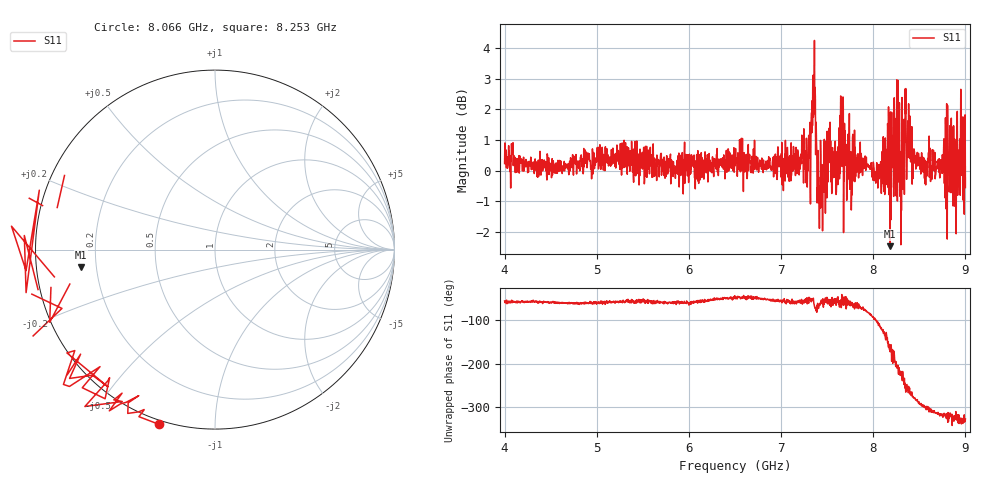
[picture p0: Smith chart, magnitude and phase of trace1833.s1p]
! Created with skrf 1.8.0 (http://scikit-rf.org).
# Hz S RI R 50.0
!freq ReS11 ImS11
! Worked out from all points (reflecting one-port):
!   1601 points, 4 GHz to 9 GHz, reference 50 ohm
!   lowest |S11| = -2.5 dB at 8.184 GHz (marker M1), VSWR 7.09, Z = 7.08 - j3.25 ohm
!   phase of S11 starts at -56 deg and turns -271 deg over the sweep
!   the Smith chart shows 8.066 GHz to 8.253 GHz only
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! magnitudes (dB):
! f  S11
! 4 GHz  0.2
! 4.625 GHz  -0.1
! 5.25 GHz  0.0
! 5.875 GHz  0.0
! 6.5 GHz  0.5
! 7.125 GHz  0.5
! 7.297 GHz  1.0
! 7.353 GHz  1.8
! 7.369 GHz  2.7
! 7.4 GHz  0.7
! 7.428 GHz  1.0
! 7.509 GHz  -0.4
! 7.616 GHz  -0.5
! 7.65 GHz  2.2
! 7.703 GHz  0.2
! 7.75 GHz  0.3
! 8.038 GHz  0.3
! 8.184 GHz  -2.5
! 8.253 GHz  1.4
! 8.312 GHz  2.4
! 8.334 GHz  1.7
! 8.375 GHz  0.8
! 8.447 GHz  0.6
! 8.556 GHz  -0.3
! 8.831 GHz  1.5
! 8.875 GHz  0.5
! 8.956 GHz  0.2
! 9 GHz  -0.6
